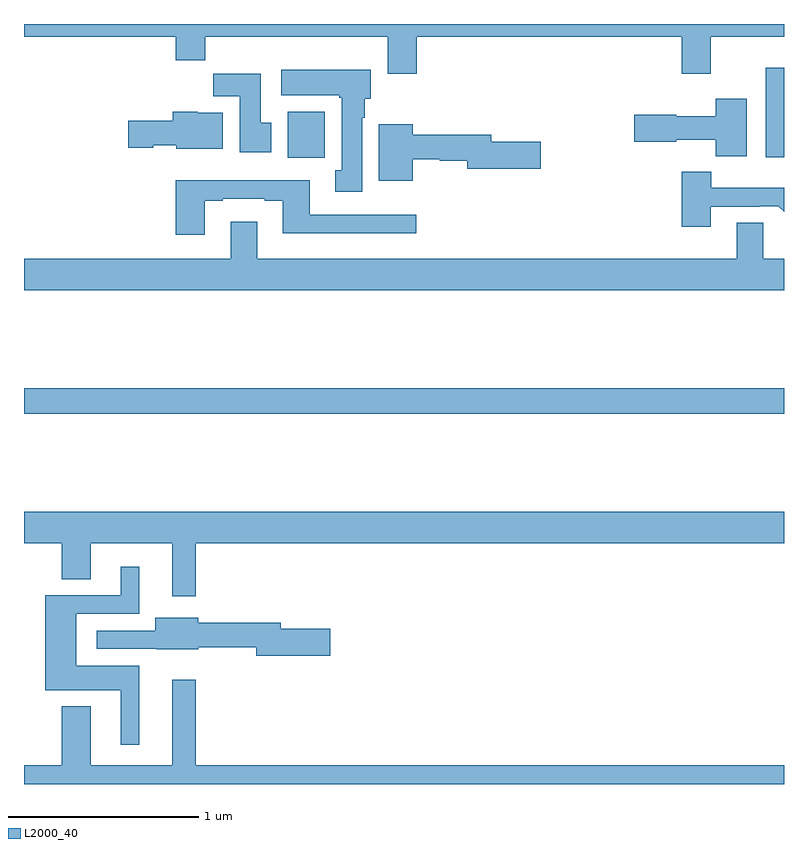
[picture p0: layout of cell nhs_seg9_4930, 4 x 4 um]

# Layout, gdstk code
import gdstk
lib = gdstk.Library(unit=1e-6, precision=1e-09)
def R(c, l, rs):  # rectangles x0, y0, x1, y1
    for r in rs: c.add(gdstk.rectangle(r[:2], r[2:], *l))
def P(c, l, *ps):  # polygons
    for p in ps: c.add(gdstk.Polygon(p, *l))
L2000_40 = (2000, 40)

nhs_seg9_4930 = lib.new_cell('nhs_seg9_4930')
R(nhs_seg9_4930, L2000_40, [(397,1182.448,401,1182.584), (398.387,1183.796,398.584,1184.038), (400.904,1183.8,401,1184.269)])
P(nhs_seg9_4930, L2000_40, [(399.068,1184.432),(400.463,1184.432),(400.463,1184.238),(400.615,1184.238),(400.615,1184.432),(401,1184.432),(401,1184.5),(397,1184.5),(397,1184.432),(397.799,1184.432),(397.799,1184.308),(397.955,1184.308),(397.955,1184.432),(398.915,1184.432),(398.915,1184.238),(399.068,1184.238)],
  [(398.779,1184.006),(398.794,1184.006),(398.794,1184.106),(398.824,1184.106),(398.824,1184.26),(398.355,1184.26),(398.355,1184.126),(398.659,1184.126),(398.659,1184.113),(398.672,1184.113),(398.672,1183.73),(398.639,1183.73),(398.639,1183.617),(398.779,1183.617)],
  [(398.302,1183.98),(398.245,1183.98),(398.245,1184.239),(397.996,1184.239),(397.996,1184.12),(398.135,1184.12),(398.135,1183.824),(398.302,1183.824)],
  [(400.804,1184.107),(400.64,1184.107),(400.64,1184.014),(400.434,1184.014),(400.434,1184.022),(400.212,1184.022),(400.212,1183.88),(400.434,1183.88),(400.434,1183.892),(400.642,1183.892),(400.642,1183.805),(400.804,1183.805)],
  [(398.047,1184.032),(397.914,1184.032),(397.914,1184.038),(397.784,1184.038),(397.784,1183.992),(397.548,1183.992),(397.548,1183.85),(397.68,1183.85),(397.68,1183.862),(397.8,1183.862),(397.8,1183.844),(398.047,1183.844)],
  [(399.046,1183.788),(399.189,1183.788),(399.189,1183.78),(399.332,1183.78),(399.332,1183.738),(399.721,1183.738),(399.721,1183.88),(399.46,1183.88),(399.46,1183.916),(399.046,1183.916),(399.046,1183.972),(398.867,1183.972),(398.867,1183.676),(399.046,1183.676)],
  [(400.615,1183.539),(400.871,1183.539),(400.871,1183.542),(400.97,1183.542),(401,1183.512),(401,1183.639),(400.618,1183.639),(400.618,1183.723),(400.463,1183.723),(400.463,1183.434),(400.615,1183.434)],
  [(397.951,1183.569),(398.047,1183.569),(398.047,1183.581),(398.267,1183.581),(398.267,1183.569),(398.363,1183.569),(398.363,1183.4),(399.064,1183.4),(399.064,1183.497),(398.503,1183.497),(398.503,1183.678),(397.799,1183.678),(397.799,1183.392),(397.951,1183.392)],
  [(401,1183.264),(400.891,1183.264),(400.891,1183.454),(400.751,1183.454),(400.751,1183.264),(398.227,1183.264),(398.227,1183.459),(398.087,1183.459),(398.087,1183.264),(397,1183.264),(397,1183.1),(401,1183.1)],
  [(397.903,1181.768),(401,1181.768),(401,1181.932),(397,1181.932),(397,1181.768),(397.199,1181.768),(397.199,1181.578),(397.351,1181.578),(397.351,1181.768),(397.781,1181.768),(397.781,1181.487),(397.903,1181.487)],
  [(397.606,1181.122),(397.276,1181.122),(397.276,1181.397),(397.606,1181.397),(397.606,1181.644),(397.508,1181.644),(397.508,1181.493),(397.112,1181.493),(397.112,1180.994),(397.508,1180.994),(397.508,1180.707),(397.606,1180.707)],
  [(398.611,1181.316),(398.35,1181.316),(398.35,1181.35),(397.918,1181.35),(397.918,1181.374),(397.691,1181.374),(397.691,1181.307),(397.383,1181.307),(397.383,1181.211),(397.695,1181.211),(397.695,1181.21),(397.918,1181.21),(397.918,1181.221),(398.222,1181.221),(398.222,1181.174),(398.611,1181.174)],
  [(401,1180.6),(397.903,1180.6),(397.903,1181.05),(397.781,1181.05),(397.781,1180.6),(397.351,1180.6),(397.351,1180.909),(397.199,1180.909),(397.199,1180.6),(397,1180.6),(397,1180.5),(401,1180.5)])

lib.write_gds('nhs_seg9_4930.gds')
